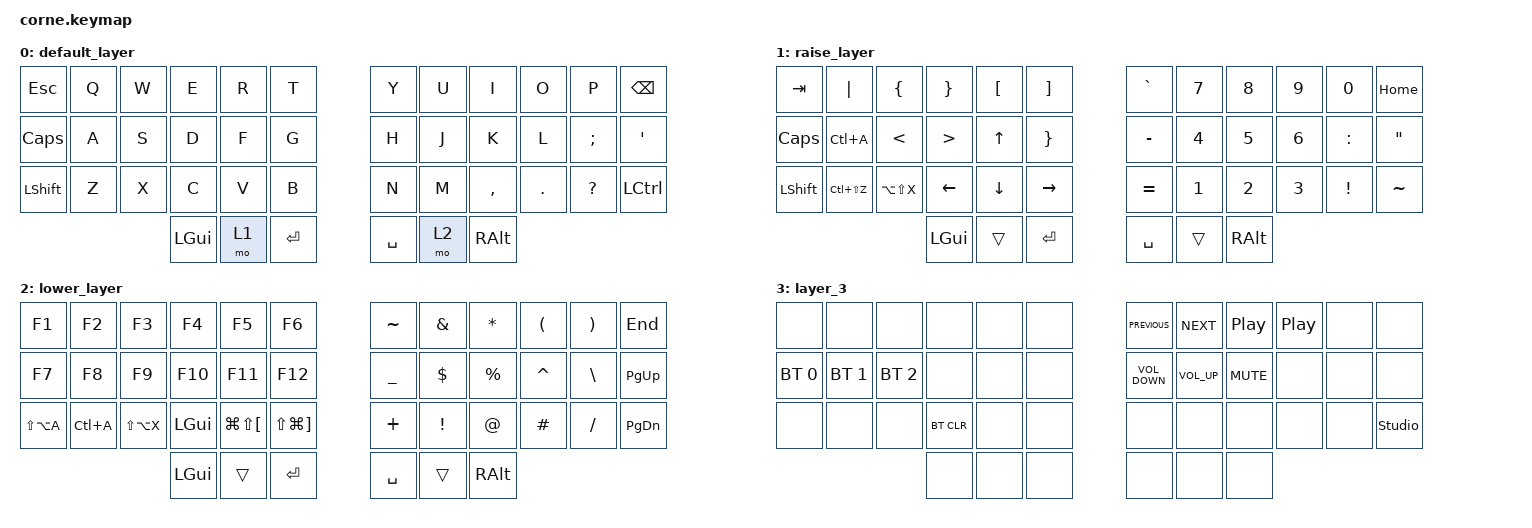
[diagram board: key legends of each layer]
/*
 * Copyright (c) 2020 The ZMK Contributors
 *
 * SPDX-License-Identifier: MIT
 */

#include <behaviors.dtsi>
#include <dt-bindings/zmk/bt.h>
#include <dt-bindings/zmk/keys.h>

/ {
    combos {
        compatible = "zmk,combos";

        layer3 {
            bindings = <&mo 3>;
            key-positions = <37 40>;
        };
    };

    keymap {
        compatible = "zmk,keymap";

        default_layer {
            // -----------------------------------------------------------------------------------------
            // |  TAB |  Q  |  W  |  E  |  R  |  T  |   |  Y  |  U   |  I  |  O  |  P  | BKSP |
            // | CTRL |  A  |  S  |  D  |  F  |  G  |   |  H  |  J   |  K  |  L  |  ;  |  '   |
            // | SHFT |  Z  |  X  |  C  |  V  |  B  |   |  N  |  M   |  ,  |  .  |  /  | ESC  |
            //                    | GUI | LWR | SPC |   | ENT | RSE  | ALT |

            bindings = <
&kp ESC         &kp Q  &kp W  &kp E     &kp R  &kp T        &kp Y      &kp U  &kp I      &kp O    &kp P         &kp BSPC
&kp CAPS        &kp A  &kp S  &kp D     &kp F  &kp G        &kp H      &kp J  &kp K      &kp L    &kp SEMI      &kp SQT
&kp LEFT_SHIFT  &kp Z  &kp X  &kp C     &kp V  &kp B        &kp N      &kp M  &kp COMMA  &kp DOT  &kp QUESTION  &kp LCTRL
                              &kp LGUI  &mo 1  &kp ENTER    &kp SPACE  &mo 2  &kp RALT
            >;
        };

        raise_layer {
            // -----------------------------------------------------------------------------------------
            // |  TAB |  !  |  @  |  #  |  $  |  %  |   |  ^  |  &  |  *  |  (  |  )  | BKSP |
            // | CTRL |     |     |     |     |     |   |  -  |  =  |  [  |  ]  |  \  |  `   |
            // | SHFT |     |     |     |     |     |   |  _  |  +  |  {  |  }  | "|" |  ~   |
            //                    | GUI |     | SPC |   | ENT |     | ALT |

            bindings = <
&kp TAB         &kp PIPE       &kp LEFT_BRACE  &kp RIGHT_BRACE   &kp LEFT_BRACKET  &kp RIGHT_BRACKET    &kp GRAVE  &kp NUMBER_7  &kp NUMBER_8  &kp N9        &kp N0     &kp HOME
&kp CAPS        &kp LC(A)      &kp LESS_THAN   &kp GREATER_THAN  &kp UP            &kp RIGHT_BRACE      &kp MINUS  &kp NUMBER_4  &kp NUMBER_5  &kp NUMBER_6  &kp COLON  &kp DOUBLE_QUOTES
&kp LEFT_SHIFT  &kp LC(LS(Z))  &kp LA(LS(X))   &kp LEFT          &kp DOWN_ARROW    &kp RIGHT            &kp EQUAL  &kp NUMBER_1  &kp NUMBER_2  &kp NUMBER_3  &kp EXCL   &kp TILDE
                                               &kp LGUI          &trans            &kp ENTER            &kp SPACE  &trans        &kp RALT
            >;
        };

        lower_layer {
            // -----------------------------------------------------------------------------------------
            // |  TAB |  1  |  2  |  3  |  4  |  5  |   |  6  |  7  |  8  |  9  |  0  | BKSP |
            // | BTCLR| BT1 | BT2 | BT3 | BT4 | BT5 |   | LFT | DWN |  UP | RGT |     |      |
            // | SHFT |     |     |     |     |     |   |     |     |     |     |     |      |
            //                    | GUI |     | SPC |   | ENT |     | ALT |

            bindings = <
&kp F1         &kp F2     &kp F3         &kp F4    &kp F5                    &kp F6                       &kp TILDE  &kp AMPERSAND  &kp ASTERISK  &kp LEFT_PARENTHESIS  &kp RIGHT_PARENTHESIS  &kp END
&kp F7         &kp F8     &kp F9         &kp F10   &kp F11                   &kp F12                      &kp UNDER  &kp DOLLAR     &kp PERCENT   &kp CARET             &kp BACKSLASH          &kp PAGE_UP
&kp LS(LA(A))  &kp LC(A)  &kp LS(LA(X))  &kp LGUI  &kp LG(LS(LEFT_BRACKET))  &kp LS(LG(RIGHT_BRACKET))    &kp PLUS   &kp EXCL       &kp AT        &kp HASH              &kp SLASH              &kp PAGE_DOWN
                                         &kp LGUI  &trans                    &kp ENTER                    &kp SPACE  &trans         &kp RALT
            >;
        };

        layer_3 {
            bindings = <
&none         &none         &none         &none       &none  &none    &kp C_PREVIOUS     &kp C_NEXT       &kp C_PLAY_PAUSE  &kp C_PP  &none  &none
&bt BT_SEL 0  &bt BT_SEL 1  &bt BT_SEL 2  &none       &none  &none    &kp C_VOLUME_DOWN  &kp C_VOLUME_UP  &kp K_MUTE        &none     &none  &none
&none         &none         &none         &bt BT_CLR  &none  &none    &none              &none            &none             &none     &none  &studio_unlock
                                          &none       &none  &none    &none              &none            &none
            >;
        };
    };
};
